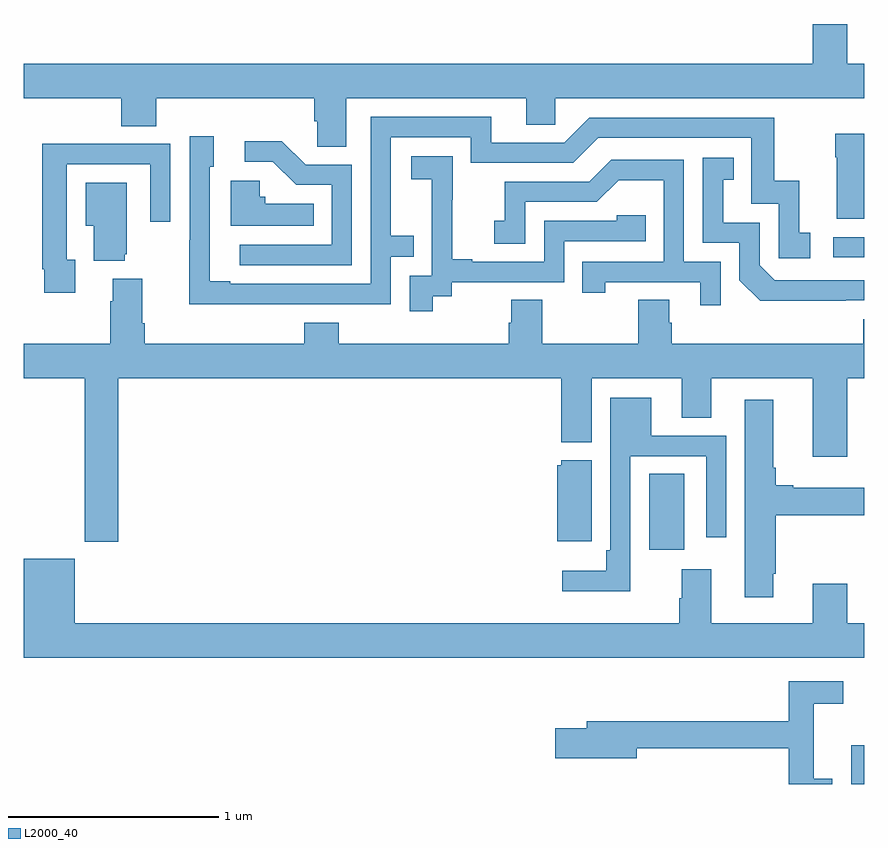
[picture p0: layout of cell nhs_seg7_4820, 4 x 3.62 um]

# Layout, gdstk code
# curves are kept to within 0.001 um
import gdstk
lib = gdstk.Library(unit=1e-6, precision=1e-09)
def R(c, l, rs):  # rectangles x0, y0, x1, y1
    for r in rs: c.add(gdstk.rectangle(r[:2], r[2:], *l))
def P(c, l, *ps):  # polygons
    for p in ps: c.add(gdstk.Polygon(p, *l))
L2000_40 = (2000, 40)

nhs_seg7_4820 = lib.new_cell('nhs_seg7_4820')
R(nhs_seg7_4820, L2000_40, [(416.937,1016,417,1016.185), (415.976,1017.114,416.143,1017.476), (416.853,1018.506,417,1018.602)])
P(nhs_seg7_4820, L2000_40, [(414.535,1019.264),(415.391,1019.264),(415.391,1019.137),(415.53,1019.137),(415.53,1019.264),(417,1019.264),(417,1019.428),(416.92,1019.428),(416.92,1019.617),(416.756,1019.617),(416.756,1019.428),(413,1019.428),(413,1019.264),(413.465,1019.264),(413.465,1019.131),(413.63,1019.131),(413.63,1019.264),(414.383,1019.264),(414.383,1019.155),(414.396,1019.155),(414.396,1019.032),(414.535,1019.032)],
  [(414.251,1018.284),(414.747,1018.284),(414.747,1018.509),(414.857,1018.509),(414.857,1018.61),(414.747,1018.61),(414.747,1019.079),(415.128,1019.079),(415.128,1018.956),(415.614,1018.956),(415.734,1019.076),(416.463,1019.076),(416.463,1018.761),(416.592,1018.761),(416.592,1018.503),(416.743,1018.503),(416.743,1018.623),(416.69,1018.623),(416.69,1018.87),(416.572,1018.87),(416.572,1019.172),(415.692,1019.172),(415.572,1019.052),(415.225,1019.052),(415.225,1019.175),(414.651,1019.175),(414.651,1018.38),(413.983,1018.38),(413.983,1018.393),(413.886,1018.393),(413.886,1018.938),(413.905,1018.938),(413.905,1019.083),(413.79,1019.083),(413.79,1018.589),(413.788,1018.589),(413.788,1018.283)],
  [(417,1019.095),(416.863,1019.095),(416.863,1018.982),(416.87,1018.982),(416.87,1018.691),(417,1018.691)],
  [(414.561,1018.947),(414.342,1018.947),(414.229,1019.06),(414.051,1019.06),(414.051,1018.962),(414.185,1018.962),(414.296,1018.851),(414.465,1018.851),(414.465,1018.566),(414.027,1018.566),(414.027,1018.47),(414.561,1018.47)],
  [(413.245,1018.494),(413.205,1018.494),(413.205,1018.95),(413.601,1018.95),(413.601,1018.677),(413.697,1018.677),(413.697,1019.046),(413.381,1019.046),(413.381,1019.048),(413.089,1019.048),(413.089,1018.45),(413.097,1018.45),(413.097,1018.338),(413.245,1018.338)],
  [(414.946,1018.321),(415.038,1018.321),(415.038,1018.389),(415.572,1018.389),(415.572,1018.584),(415.961,1018.584),(415.961,1018.707),(415.821,1018.707),(415.821,1018.68),(415.476,1018.68),(415.476,1018.485),(415.135,1018.485),(415.135,1018.498),(415.04,1018.498),(415.04,1018.781),(415.041,1018.781),(415.041,1018.987),(414.843,1018.987),(414.843,1018.877),(414.941,1018.877),(414.941,1018.649),(414.942,1018.649),(414.942,1018.419),(414.837,1018.419),(414.837,1018.251),(414.946,1018.251)],
  [(416.912,1018.302),(417,1018.302),(417,1018.398),(416.574,1018.398),(416.502,1018.47),(416.502,1018.671),(416.329,1018.671),(416.329,1018.875),(416.378,1018.875),(416.378,1018.981),(416.232,1018.981),(416.232,1018.575),(416.406,1018.575),(416.406,1018.398),(416.504,1018.301)],
  [(416.316,1018.485),(416.142,1018.485),(416.142,1018.971),(415.796,1018.971),(415.691,1018.866),(415.288,1018.866),(415.288,1018.681),(415.239,1018.681),(415.239,1018.572),(415.386,1018.572),(415.386,1018.77),(415.728,1018.77),(415.832,1018.874),(416.046,1018.874),(416.046,1018.485),(415.657,1018.485),(415.657,1018.338),(415.768,1018.338),(415.768,1018.389),(416.219,1018.389),(416.219,1018.278),(416.316,1018.278)],
  [(414.38,1018.762),(414.15,1018.762),(414.15,1018.794),(414.123,1018.794),(414.123,1018.87),(413.984,1018.87),(413.984,1018.658),(414.38,1018.658)],
  [(413.48,1018.521),(413.491,1018.521),(413.491,1018.861),(413.294,1018.861),(413.294,1018.658),(413.333,1018.658),(413.333,1018.49),(413.48,1018.49)],
  [(413.45,1017.932),(415.559,1017.932),(415.559,1017.626),(415.702,1017.626),(415.702,1017.932),(416.132,1017.932),(416.132,1017.742),(416.272,1017.742),(416.272,1017.932),(416.756,1017.932),(416.756,1017.558),(416.92,1017.558),(416.92,1017.932),(417,1017.932),(417,1018.213),(416.996,1018.213),(416.996,1018.096),(416.084,1018.096),(416.084,1018.194),(416.071,1018.194),(416.071,1018.304),(415.924,1018.304),(415.924,1018.096),(415.467,1018.096),(415.467,1018.304),(415.319,1018.304),(415.319,1018.194),(415.307,1018.194),(415.307,1018.096),(414.5,1018.096),(414.5,1018.195),(414.335,1018.195),(414.335,1018.096),(413.576,1018.096),(413.576,1018.192),(413.563,1018.192),(413.563,1018.405),(413.423,1018.405),(413.423,1018.298),(413.411,1018.298),(413.411,1018.096),(413,1018.096),(413,1017.932),(413.29,1017.932),(413.29,1017.153),(413.45,1017.153)],
  [(415.887,1017.561),(416.247,1017.561),(416.247,1017.174),(416.343,1017.174),(416.343,1017.657),(415.987,1017.657),(415.987,1017.838),(415.791,1017.838),(415.791,1017.112),(415.771,1017.112),(415.771,1017.016),(415.563,1017.016),(415.563,1016.918),(415.887,1016.918)],
  [(416.566,1017.001),(416.579,1017.001),(416.579,1017.28),(417,1017.28),(417,1017.409),(416.662,1017.409),(416.662,1017.422),(416.579,1017.422),(416.579,1017.505),(416.566,1017.505),(416.566,1017.829),(416.432,1017.829),(416.432,1016.889),(416.566,1016.889)],
  [(415.702,1017.541),(415.557,1017.541),(415.557,1017.516),(415.538,1017.516),(415.538,1017.155),(415.702,1017.155)],
  [(417,1016.764),(416.92,1016.764),(416.92,1016.953),(416.756,1016.953),(416.756,1016.764),(416.272,1016.764),(416.272,1017.022),(416.132,1017.022),(416.132,1016.885),(416.12,1016.885),(416.12,1016.764),(413.242,1016.764),(413.242,1017.073),(413,1017.073),(413,1016.6),(417,1016.6)],
  [(416.848,1016.026),(416.759,1016.026),(416.759,1016.382),(416.899,1016.382),(416.899,1016.49),(416.641,1016.49),(416.641,1016.299),(415.679,1016.299),(415.679,1016.265),(415.53,1016.265),(415.53,1016.123),(415.918,1016.123),(415.918,1016.17),(416.641,1016.17),(416.641,1016),(416.848,1016)])

lib.write_gds('nhs_seg7_4820.gds')
